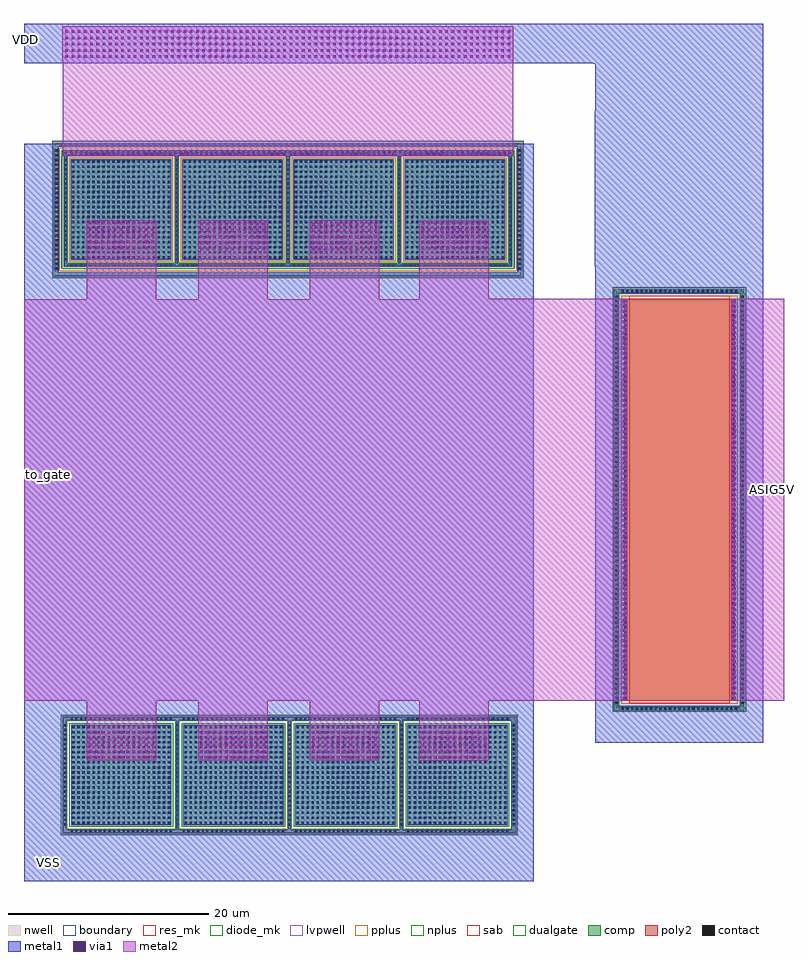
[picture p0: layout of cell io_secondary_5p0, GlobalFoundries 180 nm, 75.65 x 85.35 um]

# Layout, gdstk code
from math import pi, radians
import gdstk
lib = gdstk.Library(unit=1e-6, precision=1e-09)
def R(c, l, rs):  # rectangles x0, y0, x1, y1
    for r in rs: c.add(gdstk.rectangle(r[:2], r[2:], *l))
def A(c, l, x, y, w, h, nx, ny, dx, dy):  # array of equal rectangles
    R(c, l, [(x+i*dx, y+j*dy, x+i*dx+w, y+j*dy+h) for i in range(nx) for j in range(ny)])
boundary = (0, 0)
nwell = (21, 0)
comp = (22, 0)
poly2 = (30, 0)
pplus = (31, 0)
nplus = (32, 0)
contact = (33, 0)
metal1 = (34, 0)
via1 = (35, 0)
metal2 = (36, 0)
sab = (49, 0)
dualgate = (55, 0)
res_mk = (110, 5)
diode_mk = (115, 5)
lvpwell = (204, 0)

ppolyf_u_9h3lnu = lib.new_cell('ppolyf_u_9H3LNU')
R(ppolyf_u_9h3lnu, boundary, [(-20.78,-6.29,20.78,6.29)])
R(ppolyf_u_9h3lnu, nwell, [(-21.08,-6.59,21.08,6.59)])
R(ppolyf_u_9h3lnu, comp, [(-20.96,-6.47,20.96,-6.11), (-20.96,-6.11,-20.6,6.11), (20.6,-6.11,20.96,6.11), (-20.96,6.11,20.96,6.47)])
R(ppolyf_u_9h3lnu, poly2, [(-20,-5.51,20,5.51)])
R(ppolyf_u_9h3lnu, pplus, [(-20.3,-5.81,20.3,5.81)])
R(ppolyf_u_9h3lnu, nplus, [(-21.12,-6.63,21.12,-6), (-21.12,-6,-20.49,6), (20.49,-6,21.12,6), (-21.12,6,21.12,6.63)])
A(ppolyf_u_9h3lnu, contact, -20.32, -6.4, 0.22, 0.22, 87, 2, 0.47, 12.58)
A(ppolyf_u_9h3lnu, contact, -20.89, -5.75, 0.22, 0.22, 1, 25, 0, 0.47)
A(ppolyf_u_9h3lnu, contact, 20.67, -5.75, 0.22, 0.22, 1, 25, 0, 0.47)
A(ppolyf_u_9h3lnu, contact, -19.85, -5.44, 0.22, 0.22, 85, 2, 0.47, 10.66)
R(ppolyf_u_9h3lnu, metal1, [(-20.895,-6.405,20.895,-6.175), (-20.895,-6.175,-20.665,6.175), (20.665,-6.175,20.895,6.175), (-19.99,-5.445,19.99,-5.215), (-19.99,5.215,19.99,5.445), (-20.895,6.175,20.895,6.405)])
R(ppolyf_u_9h3lnu, sab, [(-20.28,-5,20.28,5)])
R(ppolyf_u_9h3lnu, res_mk, [(-20,-5,20,5)])

diode_nd2ps_06v0_mv3sz3 = lib.new_cell('diode_nd2ps_06v0_MV3SZ3')
R(diode_nd2ps_06v0_mv3sz3, boundary, [(11.16,-5.58,22.32,5.58)])
A(diode_nd2ps_06v0_mv3sz3, comp, -22.5, -5.4, 0.36, 10.8, 5, 1, 11.16, 0)
A(diode_nd2ps_06v0_mv3sz3, comp, -21.74, -5, 10, 10, 4, 1, 11.16, 0)
R(diode_nd2ps_06v0_mv3sz3, comp, [(-22.5,-5.76,22.5,-5.4), (-22.5,5.4,22.5,5.76)])
A(diode_nd2ps_06v0_mv3sz3, pplus, -22.015, -5.79, 10.55, 0.01, 4, 2, 11.16, 11.57)
A(diode_nd2ps_06v0_mv3sz3, pplus, -11.37, -5.37, 0.42, 10.74, 3, 1, 11.16, 0)
R(diode_nd2ps_06v0_mv3sz3, pplus, [(-22.52,-5.78,22.52,-5.37), (-22.52,-5.37,-22.11,-5.275), (22.11,-5.37,22.52,-5.275), (-22.53,-5.275,-22.11,5.275), (22.11,-5.275,22.53,5.275), (-22.52,5.275,-22.11,5.37), (22.11,5.275,22.52,5.37), (-22.52,5.37,22.52,5.78)])
A(diode_nd2ps_06v0_mv3sz3, nplus, -21.9, -5.16, 10.32, 10.32, 4, 1, 11.16, 0)
A(diode_nd2ps_06v0_mv3sz3, contact, -21.785, -5.69, 0.22, 0.22, 22, 2, 0.47, 11.16)
A(diode_nd2ps_06v0_mv3sz3, contact, -10.625, -5.69, 0.22, 0.22, 22, 2, 0.47, 11.16)
A(diode_nd2ps_06v0_mv3sz3, contact, 0.535, -5.69, 0.22, 0.22, 22, 2, 0.47, 11.16)
A(diode_nd2ps_06v0_mv3sz3, contact, 11.695, -5.69, 0.22, 0.22, 22, 2, 0.47, 11.16)
A(diode_nd2ps_06v0_mv3sz3, contact, -22.43, -5.045, 0.22, 0.22, 5, 22, 11.16, 0.47)
A(diode_nd2ps_06v0_mv3sz3, contact, -21.6, -4.86, 0.22, 0.22, 20, 20, 0.5, 0.5)
A(diode_nd2ps_06v0_mv3sz3, contact, -10.44, -4.86, 0.22, 0.22, 20, 20, 0.5, 0.5)
A(diode_nd2ps_06v0_mv3sz3, contact, 0.72, -4.86, 0.22, 0.22, 20, 20, 0.5, 0.5)
A(diode_nd2ps_06v0_mv3sz3, contact, 11.88, -4.86, 0.22, 0.22, 20, 20, 0.5, 0.5)
A(diode_nd2ps_06v0_mv3sz3, metal1, -22.435, -5.465, 0.23, 10.93, 5, 1, 11.16, 0)
A(diode_nd2ps_06v0_mv3sz3, metal1, -21.73, -4.935, 9.98, 9.87, 4, 1, 11.16, 0)
R(diode_nd2ps_06v0_mv3sz3, metal1, [(-22.435,-5.695,22.435,-5.465), (-22.435,5.465,22.435,5.695)])
R(diode_nd2ps_06v0_mv3sz3, dualgate, [(-22.74,-6,22.74,6)])
A(diode_nd2ps_06v0_mv3sz3, diode_mk, -21.74, -5, 10, 10, 4, 1, 11.16, 0)
R(diode_nd2ps_06v0_mv3sz3, lvpwell, [(-22.62,-5.88,22.62,5.88)])

diode_pd2nw_06v0_5dg9hc = lib.new_cell('diode_pd2nw_06v0_5DG9HC')
R(diode_pd2nw_06v0_5dg9hc, boundary, [(11.08,-5.54,22.16,5.54)])
R(diode_pd2nw_06v0_5dg9hc, nwell, [(-22.5,-5.88,22.5,5.88)])
A(diode_pd2nw_06v0_5dg9hc, comp, -22.34, -5.36, 0.36, 10.72, 5, 1, 11.08, 0)
A(diode_pd2nw_06v0_5dg9hc, comp, -21.62, -5, 10, 10, 4, 1, 11.08, 0)
R(diode_pd2nw_06v0_5dg9hc, comp, [(-23.22,-6.6,23.22,-6.24), (-23.22,-6.24,-22.86,6.24), (22.86,-6.24,23.22,6.24), (-22.34,-5.72,22.34,-5.36), (-22.34,5.36,22.34,5.72), (-23.22,6.24,23.22,6.6)])
A(diode_pd2nw_06v0_5dg9hc, pplus, -21.78, -5.16, 10.32, 10.32, 4, 1, 11.08, 0)
R(diode_pd2nw_06v0_5dg9hc, pplus, [(-23.24,-6.62,23.24,-6.115), (-23.25,-6.115,23.25,-6.08), (-23.25,-6.08,-22.7,6.08), (22.7,-6.08,23.25,6.08), (-23.25,6.08,23.25,6.115), (-23.24,6.115,23.24,6.62)])
A(diode_pd2nw_06v0_5dg9hc, nplus, -11.29, -5.29, 0.42, 10.58, 3, 1, 11.08, 0)
R(diode_pd2nw_06v0_5dg9hc, nplus, [(-22.5,-5.88,22.5,-5.29), (-22.5,-5.29,-21.91,5.29), (21.91,-5.29,22.5,5.29), (-22.5,5.29,22.5,5.88)])
A(diode_pd2nw_06v0_5dg9hc, contact, -23.15, -5.985, 0.22, 0.22, 1, 26, 0, 0.47)
A(diode_pd2nw_06v0_5dg9hc, contact, 22.93, -5.985, 0.22, 0.22, 1, 26, 0, 0.47)
A(diode_pd2nw_06v0_5dg9hc, contact, -21.665, -5.65, 0.22, 0.22, 22, 2, 0.47, 11.08)
A(diode_pd2nw_06v0_5dg9hc, contact, -10.585, -5.65, 0.22, 0.22, 22, 2, 0.47, 11.08)
A(diode_pd2nw_06v0_5dg9hc, contact, 0.495, -5.65, 0.22, 0.22, 22, 2, 0.47, 11.08)
A(diode_pd2nw_06v0_5dg9hc, contact, 11.575, -5.65, 0.22, 0.22, 22, 2, 0.47, 11.08)
A(diode_pd2nw_06v0_5dg9hc, contact, -22.27, -5.045, 0.22, 0.22, 5, 22, 11.08, 0.47)
A(diode_pd2nw_06v0_5dg9hc, contact, -21.48, -4.86, 0.22, 0.22, 20, 20, 0.5, 0.5)
A(diode_pd2nw_06v0_5dg9hc, contact, -10.4, -4.86, 0.22, 0.22, 20, 20, 0.5, 0.5)
A(diode_pd2nw_06v0_5dg9hc, contact, 0.68, -4.86, 0.22, 0.22, 20, 20, 0.5, 0.5)
A(diode_pd2nw_06v0_5dg9hc, contact, 11.76, -4.86, 0.22, 0.22, 20, 20, 0.5, 0.5)
A(diode_pd2nw_06v0_5dg9hc, metal1, -22.275, -5.425, 0.23, 10.85, 5, 1, 11.08, 0)
A(diode_pd2nw_06v0_5dg9hc, metal1, -21.61, -4.935, 9.98, 9.87, 4, 1, 11.08, 0)
R(diode_pd2nw_06v0_5dg9hc, metal1, [(-23.155,-6.535,23.155,-6.305), (-23.155,-6.305,-22.925,6.305), (22.925,-6.305,23.155,6.305), (-22.275,-5.655,22.275,-5.425), (-22.275,5.425,22.275,5.655), (-23.155,6.305,23.155,6.535)])
R(diode_pd2nw_06v0_5dg9hc, dualgate, [(-23.46,-6.84,23.46,6.84)])
A(diode_pd2nw_06v0_5dg9hc, diode_mk, -21.62, -5, 10, 10, 4, 1, 11.08, 0)
R(diode_pd2nw_06v0_5dg9hc, lvpwell, [(-23.38,-6.76,23.38,-5.88), (-23.38,-5.88,-22.5,5.88), (22.5,-5.88,23.38,5.88), (-23.38,5.88,23.38,6.76)])

io_secondary_5p0 = lib.new_cell('io_secondary_5p0')
R(io_secondary_5p0, metal1, [(-36,-24.15,14.76,-19.05), (-36,-19.05,-31.79,-8.25), (12.51,-19.05,14.76,-9.4), (-29.71,-12.065,-22.905,-9.145), (-18.625,-12.065,-11.82,-9.145), (-7.5,-12.05,-0.695,-9.13), (3.4,-12.05,10.205,-9.13), (20.85,-10.35,37.6,-6.7), (12.5,-9.4,14.76,-8.25), (-36,-8.25,-31.8,-8.1), (12.5,-8.25,14.75,-8.1), (-36,-8.1,14.75,36.45), (20.85,-6.7,23.15,34.4), (35.35,-6.7,37.6,34.4), (23.4,-6.2,24.05,33.85), (34.4,-6.2,35.05,33.85), (20.85,34.4,37.6,37.05), (-36,36.45,-32.55,49.25), (13.1,36.45,14.75,49.25), (20.8,37.05,37.6,52.5), (-7.505,38.545,-0.7,41.465), (-18.63,38.565,-11.825,41.485), (3.4,38.615,10.205,41.535), (-29.715,38.66,-22.91,41.58), (-32.1,48.05,-31.85,48.1), (12.45,48.05,12.7,48.1), (-32.1,48.1,12.7,48.55), (-32.1,48.55,-31.85,48.6), (12.45,48.55,12.7,48.6), (20.85,52.5,37.6,57.24), (20.7,57.24,37.6,57.25), (-36,57.25,37.6,61.2)])
A(io_secondary_5p0, via1, -29.54, -11.975, 0.26, 0.26, 11, 5, 0.62, 0.62)
A(io_secondary_5p0, via1, -18.455, -11.975, 0.26, 0.26, 11, 5, 0.62, 0.62)
A(io_secondary_5p0, via1, -7.33, -11.96, 0.26, 0.26, 11, 5, 0.62, 0.62)
A(io_secondary_5p0, via1, 3.57, -11.96, 0.26, 0.26, 11, 5, 0.62, 0.62)
A(io_secondary_5p0, via1, 23.595, -6.065, 0.26, 0.26, 1, 77, 0, 0.52)
A(io_secondary_5p0, via1, 34.595, -6.065, 0.26, 0.26, 1, 77, 0, 0.52)
A(io_secondary_5p0, via1, -7.335, 38.635, 0.26, 0.26, 11, 5, 0.62, 0.62)
A(io_secondary_5p0, via1, -18.46, 38.655, 0.26, 0.26, 11, 5, 0.62, 0.62)
A(io_secondary_5p0, via1, 3.57, 38.705, 0.26, 0.26, 11, 5, 0.62, 0.62)
A(io_secondary_5p0, via1, -29.545, 38.75, 0.26, 0.26, 11, 5, 0.62, 0.62)
A(io_secondary_5p0, via1, -31.99, 48.195, 0.26, 0.26, 86, 1, 0.52, 0)
A(io_secondary_5p0, via1, -31.89, 57.805, 0.26, 0.26, 72, 5, 0.62, 0.62)
A(io_secondary_5p0, metal2, -29.75, -12.1, 6.9, 5.9, 3, 1, 11.1, 0)
A(io_secondary_5p0, metal2, -29.75, 33.8, 6.9, 7.85, 3, 1, 11.1, 0)
R(io_secondary_5p0, metal2, [(3.35,-12.15,10.25,-6.2), (-36,-6.2,24.05,33.8), (34.4,-6.2,39.65,33.85), (3.35,33.8,24.05,33.85), (3.35,33.85,10.25,41.6), (-32.15,48,12.7,55.6), (-32.155,55.6,12.7,56.94), (-32.165,56.94,12.7,57.6), (-32.2,57.6,12.7,60.95)])
io_secondary_5p0.add(gdstk.Reference(ppolyf_u_9h3lnu, (29.24,13.83), rotation=3*pi/2))
io_secondary_5p0.add(gdstk.Reference(diode_nd2ps_06v0_mv3sz3, (-9.58,-13.57)))
io_secondary_5p0.add(gdstk.Reference(diode_pd2nw_06v0_5dg9hc, (-9.72,42.71)))
io_secondary_5p0.add(gdstk.Label('ASIG5V', (38.485,14.88), layer=36, texttype=10))
io_secondary_5p0.add(gdstk.Label('to_gate', (-33.55,16.35), layer=36, texttype=10))
io_secondary_5p0.add(gdstk.Label('VDD', (-35.84,59.59), layer=34, texttype=10))
io_secondary_5p0.add(gdstk.Label('VSS', (-33.54,-22.25), layer=34, texttype=10))

lib.write_gds('io_secondary_5p0.gds')
